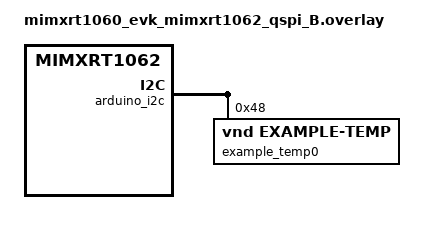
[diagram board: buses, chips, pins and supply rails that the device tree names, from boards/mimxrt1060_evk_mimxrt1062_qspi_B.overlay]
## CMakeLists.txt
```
# SPDX-License-Identifier: Apache-2.0

cmake_minimum_required(VERSION 3.20.0)
find_package(Zephyr REQUIRED HINTS $ENV{ZEPHYR_BASE})
project(example_temp_test)

# The register map and the emulator's test controls are private to the driver's folder. The module
# name in zephyr/module.yml gives the variable.
target_include_directories(app PRIVATE ${ZEPHYR_PRODUCT_X_MODULE_DIR}/drivers/sensor/example_temp)

# One test application, two scenarios (see testcase.yaml). The emulator exists only on native_sim,
# where boards/native_sim.conf turns it on. On a board the same node is the real part.
target_sources_ifdef(CONFIG_EMUL app PRIVATE src/emul_test.c)
target_sources_ifndef(CONFIG_EMUL app PRIVATE src/hardware_test.c)
target_compile_options(app PRIVATE -Wall -Wextra -Werror)
```

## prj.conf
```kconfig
# SPDX-License-Identifier: Apache-2.0

CONFIG_ZTEST=y
CONFIG_SENSOR=y
CONFIG_I2C=y
```

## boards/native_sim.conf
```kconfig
# SPDX-License-Identifier: Apache-2.0

# Both native_sim platforms need a file of their own: native_sim/native reads native_sim.conf and
# native_sim/native/64 reads native_sim_64.conf, and the two files are the same.
# The emulator of the part, and Zephyr's emulated I2C controller that native_sim already has.
CONFIG_EMUL=y
CONFIG_I2C_EMUL=y
```

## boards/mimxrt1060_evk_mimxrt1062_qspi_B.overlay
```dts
/*
 * SPDX-License-Identifier: Apache-2.0
 *
 * The part on the Arduino I2C header of the vendor board, for the hardware scenario. The part is
 * fictional: nothing answers at this address, so the scenario is a build-only stub in this
 * template. A product replaces the part and wires it.
 */

&arduino_i2c {
	example_temp0: example-temp@48 {
		compatible = "vnd,example-temp";
		reg = <0x48>;
		status = "okay";
	};
};
```

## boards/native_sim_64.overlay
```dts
/*
 * SPDX-License-Identifier: Apache-2.0
 *
 * The part on the emulated I2C controller of native_sim. The driver and the emulator both match
 * this node by its compatible, so one node gives one device and one emulator.
 */

&i2c0 {
	example_temp0: example-temp@48 {
		compatible = "vnd,example-temp";
		reg = <0x48>;
		status = "okay";
	};
};
```

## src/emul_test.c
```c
/*
 * Unit tests of the example temperature sensor driver against its emulator, on native_sim.
 *
 * What each test uses, so that a team can copy the pattern:
 *  - the emulator's sensor backend sets a temperature in SI units, as a fixed-point fraction
 *    (emul_sensor_backend_set_channel), without knowing the part's registers;
 *  - the emulator's test controls poke one register (example_temp_emul_set_reg);
 *  - the bus emulator's mock_api injects a bus error for one register. The mock answers -ENOSYS
 *    for every other transfer, and then the bus emulator hands the transfer to the model;
 *  - dev->ops.init() runs the driver's init again, to test the failures that only init can have.
 *
 * Modelled on tests/drivers/sensor/bmi160 and tests/drivers/sensor/akm09918c of Zephyr
 * (Copyright (c) 2020 Nordic Semiconductor ASA; Copyright (c) 2023 Google LLC).
 *
 * SPDX-License-Identifier: Apache-2.0
 */

#include "example_temp.h"
#include "example_temp_emul.h"

#include <errno.h>
#include <inttypes.h>
#include <zephyr/device.h>
#include <zephyr/devicetree.h>
#include <zephyr/drivers/emul.h>
#include <zephyr/drivers/emul_sensor.h>
#include <zephyr/drivers/i2c.h>
#include <zephyr/drivers/i2c_emul.h>
#include <zephyr/drivers/sensor.h>
#include <zephyr/ztest.h>

#define EXAMPLE_TEMP_NODE DT_NODELABEL(example_temp0)

#define NO_FAILURE (-1)
#define ANY_REGISTER (-2)

/* The register whose access fails, and the error that the mock returns for it. */
static int mock_fail_reg = NO_FAILURE;
static int mock_error = -EIO;

/* Every transfer of the driver starts with a write of the register number, in a message of its
 * own, so the first byte of the first message names the register. */
static int mock_transfer(const struct emul *target, struct i2c_msg *msgs, int num_msgs, int addr)
{
    ARG_UNUSED(target);
    ARG_UNUSED(num_msgs);
    ARG_UNUSED(addr);

    if (mock_fail_reg == ANY_REGISTER ||
        (mock_fail_reg >= 0 && msgs[0].len >= 1 && msgs[0].buf[0] == (uint8_t)mock_fail_reg)) {
        return mock_error;
    }

    return -ENOSYS;
}

struct example_temp_fixture {
    const struct device *dev;
    const struct emul *emul;
    struct i2c_emul_api mock_api;
};

static void *suite_setup(void)
{
    static struct example_temp_fixture fixture = {
        .dev = DEVICE_DT_GET(EXAMPLE_TEMP_NODE),
        .emul = EMUL_DT_GET(EXAMPLE_TEMP_NODE),
        .mock_api = {.transfer = mock_transfer},
    };

    zassert_not_null(fixture.emul);
    zassert_true(emul_sensor_backend_is_supported(fixture.emul));
    return &fixture;
}

static void before_each(void *data)
{
    struct example_temp_fixture *fixture = data;

    example_temp_emul_reset(fixture->emul);
    mock_fail_reg = NO_FAILURE;
    mock_error = -EIO;
    fixture->emul->bus.i2c->mock_api = &fixture->mock_api;
}

static void after_each(void *data)
{
    struct example_temp_fixture *fixture = data;

    /* A mock that stayed installed would fail the next test of this suite or another one. */
    fixture->emul->bus.i2c->mock_api = NULL;
}

ZTEST_SUITE(example_temp, NULL, suite_setup, before_each, after_each, NULL);

/* A temperature in millidegrees Celsius as the fixed-point fraction that the emulator takes: the
 * value is q31 / 2^31 * 2^shift degrees. */
static q31_t millicelsius_to_q31(int32_t millicelsius, int8_t shift)
{
    return (q31_t)(((int64_t)millicelsius * ((int64_t)INT32_MAX + 1)) /
                   (1000 * ((int64_t)1 << shift)));
}

static void set_temperature(const struct emul *emul, int32_t millicelsius)
{
    struct sensor_chan_spec chan = {.chan_type = SENSOR_CHAN_AMBIENT_TEMP, .chan_idx = 0};
    q31_t lower;
    q31_t upper;
    q31_t epsilon;
    int8_t shift;
    q31_t value;

    zassert_ok(emul_sensor_backend_get_sample_range(emul, chan, &lower, &upper, &epsilon, &shift));
    value = millicelsius_to_q31(millicelsius, shift);
    zassert_ok(emul_sensor_backend_set_channel(emul, chan, &value, shift));
}

static int64_t read_microcelsius(const struct device *dev)
{
    struct sensor_value value;

    zassert_ok(sensor_sample_fetch(dev));
    zassert_ok(sensor_channel_get(dev, SENSOR_CHAN_AMBIENT_TEMP, &value));
    return sensor_value_to_micro(&value);
}

ZTEST_F(example_temp, test_the_device_is_ready_after_boot)
{
    zassert_true(device_is_ready(fixture->dev));
}

ZTEST_F(example_temp, test_a_fetch_before_the_first_conversion_is_busy)
{
    zassert_equal(-EBUSY, sensor_sample_fetch(fixture->dev));
}

ZTEST_F(example_temp, test_the_temperature_comes_out_in_si_units)
{
    /* The part resolves 0.0625 degrees, and every value here is a multiple of it, so the
     * conversion in both directions is exact and the tolerance below is a safety margin. */
    static const int32_t millicelsius[] = {25000, 0, -40000, 100000, -125000, 127875, 1125, -1125};

    for (size_t i = 0; i < ARRAY_SIZE(millicelsius); i++) {
        int64_t microcelsius;

        set_temperature(fixture->emul, millicelsius[i]);
        microcelsius = read_microcelsius(fixture->dev);
        /* One step of the part is the largest error that the conversion may add. */
        zassert_within(microcelsius, (int64_t)millicelsius[i] * 1000,
                       EXAMPLE_TEMP_MICROCELSIUS_PER_LSB, "%d mC read as %" PRId64 " uC",
                       millicelsius[i], microcelsius);
    }
}

ZTEST_F(example_temp, test_a_value_outside_the_range_of_the_part_is_refused)
{
    struct sensor_chan_spec chan = {.chan_type = SENSOR_CHAN_AMBIENT_TEMP, .chan_idx = 0};
    q31_t value = millicelsius_to_q31(130000, 8);

    zassert_equal(-ERANGE, emul_sensor_backend_set_channel(fixture->emul, chan, &value, 8));
}

ZTEST_F(example_temp, test_a_channel_that_the_part_does_not_have_is_not_supported)
{
    zassert_equal(-ENOTSUP, sensor_sample_fetch_chan(fixture->dev, SENSOR_CHAN_HUMIDITY));
    zassert_equal(-ENOTSUP, sensor_channel_get(fixture->dev, SENSOR_CHAN_HUMIDITY,
                                               &(struct sensor_value){0}));
}

ZTEST_F(example_temp, test_a_bus_error_on_the_status_register_fails_the_fetch)
{
    set_temperature(fixture->emul, 20000);
    mock_fail_reg = EXAMPLE_TEMP_REG_STATUS;

    zassert_equal(-EIO, sensor_sample_fetch(fixture->dev));
}

ZTEST_F(example_temp, test_a_bus_error_on_the_temperature_register_keeps_the_last_sample)
{
    struct sensor_value value;

    set_temperature(fixture->emul, 20000);
    zassert_equal(20000000, read_microcelsius(fixture->dev));

    set_temperature(fixture->emul, 30000);
    mock_fail_reg = EXAMPLE_TEMP_REG_TEMP;
    mock_error = -ETIMEDOUT;
    zassert_equal(-ETIMEDOUT, sensor_sample_fetch(fixture->dev));

    /* The failed fetch did not touch the stored sample. */
    zassert_ok(sensor_channel_get(fixture->dev, SENSOR_CHAN_AMBIENT_TEMP, &value));
    zassert_equal(20000000, sensor_value_to_micro(&value));
}

ZTEST_F(example_temp, test_init_checks_the_part_identifier)
{
    example_temp_emul_set_reg(fixture->emul, EXAMPLE_TEMP_REG_ID, 0x00);

    zassert_equal(-ENODEV, fixture->dev->ops.init(fixture->dev));

    example_temp_emul_set_reg(fixture->emul, EXAMPLE_TEMP_REG_ID, EXAMPLE_TEMP_ID);
    zassert_ok(fixture->dev->ops.init(fixture->dev));
}

ZTEST_F(example_temp, test_init_fails_on_a_bus_error_when_it_reads_the_identifier)
{
    mock_fail_reg = EXAMPLE_TEMP_REG_ID;

    zassert_equal(-EIO, fixture->dev->ops.init(fixture->dev));
}

ZTEST_F(example_temp, test_init_fails_on_a_bus_error_when_it_writes_the_configuration)
{
    mock_fail_reg = EXAMPLE_TEMP_REG_CONFIG;

    zassert_equal(-EIO, fixture->dev->ops.init(fixture->dev));
}

ZTEST_F(example_temp, test_init_writes_the_configuration_the_driver_needs)
{
    example_temp_emul_set_reg(fixture->emul, EXAMPLE_TEMP_REG_CONFIG, 0x00);

    zassert_ok(fixture->dev->ops.init(fixture->dev));
    zassert_equal(EXAMPLE_TEMP_CONFIG_CONTINUOUS,
                  example_temp_emul_get_reg(fixture->emul, EXAMPLE_TEMP_REG_CONFIG));
}
```

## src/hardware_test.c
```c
/*
 * The hardware scenario of the example temperature sensor: the same driver with the part wired on
 * a board. The part is fictional, so in this template the scenario is a stub that is built and
 * never run. It shows the shape that a product copies for a real part.
 *
 * The scenario is gated on the Twister fixture "example_temp_wired" (see testcase.yaml). Without
 * --device-testing, and without that fixture on the command line or in a hardware map entry,
 * Twister builds the image and does not run it, and CI does not run it either. A run is a
 * hardware operation: it needs authorisation for the task, a verified board, probe and flash
 * configuration, and a safe setup. A Twister launch of the hardware type flashes on every launch
 * and is not a safe route. Crux's accepted direction is its device-control tool, which is untested
 * on hardware, and consumer hardware tests have no supported entry point yet. The guide
 * docs/writing-a-product-driver.md says more.
 *
 * SPDX-License-Identifier: Apache-2.0
 */

#include <errno.h>
#include <zephyr/device.h>
#include <zephyr/devicetree.h>
#include <zephyr/drivers/sensor.h>
#include <zephyr/kernel.h>
#include <zephyr/ztest.h>

/* The node comes from the board (example_rt1062) or from the overlay of the vendor board. */
static const struct device *const sensor = DEVICE_DT_GET_ANY(vnd_example_temp);

/* A room-temperature bench. A real scenario takes the limits from the setup that it describes. */
#define BENCH_MIN_MICROCELSIUS (-10LL * 1000000)
#define BENCH_MAX_MICROCELSIUS (60LL * 1000000)
#define CONVERSION_TRIES 10

ZTEST_SUITE(example_temp_hardware, NULL, NULL, NULL, NULL, NULL);

ZTEST(example_temp_hardware, test_the_wired_part_reports_a_plausible_temperature)
{
    struct sensor_value value;
    int ret = -EBUSY;

    zassert_not_null(sensor, "no enabled vnd,example-temp node");
    zassert_true(device_is_ready(sensor), "the part did not answer at init: is it wired?");

    /* The first conversion takes a moment after power-on. */
    for (int i = 0; i < CONVERSION_TRIES && ret == -EBUSY; i++) {
        ret = sensor_sample_fetch(sensor);
        if (ret == -EBUSY) {
            k_msleep(100);
        }
    }
    zassert_ok(ret);
    zassert_ok(sensor_channel_get(sensor, SENSOR_CHAN_AMBIENT_TEMP, &value));
    zassert_between_inclusive(sensor_value_to_micro(&value), BENCH_MIN_MICROCELSIUS,
                              BENCH_MAX_MICROCELSIUS);
}
```
